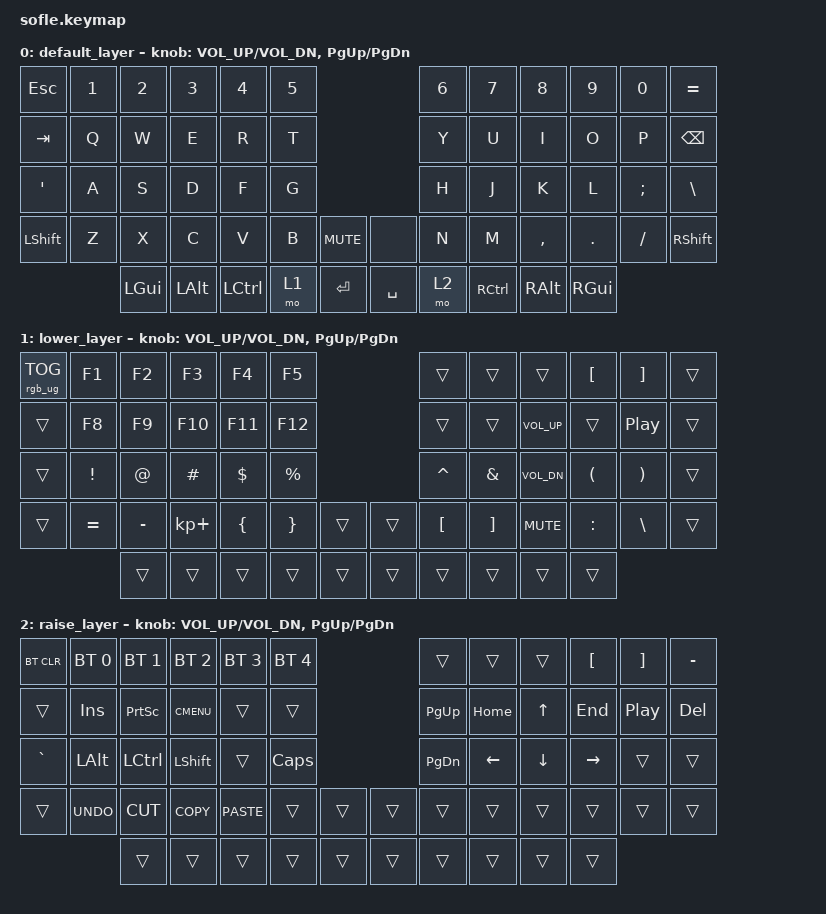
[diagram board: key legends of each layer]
/*
 * Copyright (c) 2020 The ZMK Contributors
 *
 * SPDX-License-Identifier: MIT
 */

#include <behaviors.dtsi>
#include <dt-bindings/zmk/keys.h>
#include <dt-bindings/zmk/bt.h>
#include <dt-bindings/zmk/backlight.h>
#include <dt-bindings/zmk/rgb.h>
#include <dt-bindings/zmk/ext_power.h>

/ {
    keymap {
        compatible = "zmk,keymap";

        default_layer {
// ------------------------------------------------------------------------------------------------------------
// |  ESC  |  1  |  2  |  3   |  4   |  5   |                   |  6   |  7    |  8    |  9   |   0   |  +=   |
// |  TAB  |  Q  |  W  |  E   |  R   |  T   |                   |  Y   |  U    |  I    |  O   |   P   | BKSPC |
// |   '   |  A  |  S  |  D   |  F   |  G   |                   |  H   |  J    |  K    |  L   |   ;   |   \|  |
// | SHIFT |  Z  |  X  |  C   |  V   |  B   |  MUTE  |  |       |  N   |  M    |  ,    |  .   |   /   | SHIFT |
//               | GUI | ALT  | CTRL | LOWER|  ENTER |  | SPACE | RAISE| CTRL  | ALT   | GUI  |
            bindings = <
&kp ESC   &kp N1 &kp N2   &kp N3   &kp N4    &kp N5                      &kp N6 &kp N7    &kp N8    &kp N9   &kp N0   &kp EQUAL
&kp TAB   &kp Q  &kp W    &kp E    &kp R     &kp T                       &kp Y  &kp U     &kp I     &kp O    &kp P    &kp BSPC
&kp APOS  &kp A  &kp S    &kp D    &kp F     &kp G                       &kp H  &kp J     &kp K     &kp L    &kp SEMI &kp BSLH
&kp LSHFT &kp Z  &kp X    &kp C    &kp V     &kp B  &kp C_MUTE &none     &kp N  &kp M     &kp COMMA &kp DOT  &kp FSLH &kp RSHFT
                 &kp LGUI &kp LALT &kp LCTRL &mo 1  &kp RET    &kp SPACE &mo 2  &kp RCTRL &kp RALT  &kp RGUI
            >;

            sensor-bindings = <&inc_dec_kp C_VOL_UP C_VOL_DN &inc_dec_kp PG_UP PG_DN>;
        };

        lower_layer {
// TODO: Some binds are waiting for shifted keycode support.
// ------------------------------------------------------------------------------------------------------------
// | RGB_TOG |  F1 |  F2 |  F3  |  F4  |  F5  |                   |  F6  |  F7   |       |  {[  |   ]}  |       |
// |         |  F8 |  F9 | F10  | F11  | F12  |                   |      |       | VL_UP |      | C_PP  |       |
// |         |  !  |  @  |  #   |  $   |  %   |                   |  ^   |  &    | VL_DN |  (   |   )   |       |
// |         |  =  |  -  |  +   |  {   |  }   |        |  |       |  [   |  ]    | MUTE  |  :   |   \   |       |
//                 |     |      |      |      |        |  |       |      |       |       |      |
            bindings = <
&rgb_ug RGB_TOG &kp F1    &kp F2    &kp F3      &kp F4    &kp F5                    &trans    &trans   &trans          &kp LBKT  &kp RBKT  &trans
&trans          &kp F8    &kp F9    &kp F10     &kp F11   &kp F12                   &trans    &trans   &kp C_VOL_UP    &trans    &kp C_PP  &trans
&trans          &kp EXCL  &kp AT    &kp HASH    &kp DLLR  &kp PRCNT                 &kp CARET &kp AMPS &kp C_VOL_DN    &kp LPAR  &kp RPAR  &trans
&trans          &kp EQUAL &kp MINUS &kp KP_PLUS &kp LBRC  &kp RBRC  &trans   &trans &kp LBKT  &kp RBKT &kp C_MUTE      &kp COLON &kp BSLH  &trans
                    &trans    &trans      &trans    &trans    &trans   &trans &trans    &trans   &trans          &trans
            >;

            sensor-bindings = <&inc_dec_kp C_VOL_UP C_VOL_DN &inc_dec_kp PG_UP PG_DN>;
        };

        raise_layer {
// ------------------------------------------------------------------------------------------------------------
// |BTCLR| BT1  | BT2  |  BT3  |  BT4  |  BT5 |                |      |      |       |  {[  |   ]}  |  -_   |
// |     | INS  | PSCR | GUI   |       |      |                | PGUP | HOME |   ^   | END  | C_PP  |  DEL  |
// | `~  | ALT  | CTRL | SHIFT |       | CAPS |                | PGDN |   <- |   v   |  ->  |       |       |
// |     | UNDO | CUT  | COPY  | PASTE |      |      |  |      |      |      |       |      |       |       |
//              |      |       |       |      |      |  |      |      |      |       |      |
            bindings = <
&bt BT_CLR &bt BT_SEL 0 &bt BT_SEL 1 &bt BT_SEL 2 &bt BT_SEL 3 &bt BT_SEL 4             &trans    &trans    &trans   &kp LBKT  &kp RBKT &kp MINUS
&trans     &kp INS      &kp PSCRN    &kp K_CMENU  &trans       &trans                   &kp PG_UP &kp HOME  &kp UP   &kp END   &kp C_PP &kp DEL
&kp GRAVE  &kp LALT     &kp LCTRL    &kp LSHFT    &trans       &kp CLCK                 &kp PG_DN &kp LEFT  &kp DOWN &kp RIGHT &trans   &trans
&trans     &kp K_UNDO   &kp K_CUT    &kp K_COPY   &kp K_PASTE  &trans  &trans   &trans  &trans    &trans    &trans   &trans    &trans   &trans
                        &trans       &trans       &trans       &trans  &trans   &trans  &trans    &trans    &trans   &trans
            >;

            sensor-bindings = <&inc_dec_kp C_VOL_UP C_VOL_DN &inc_dec_kp PG_UP PG_DN>;
        };
    };
};
